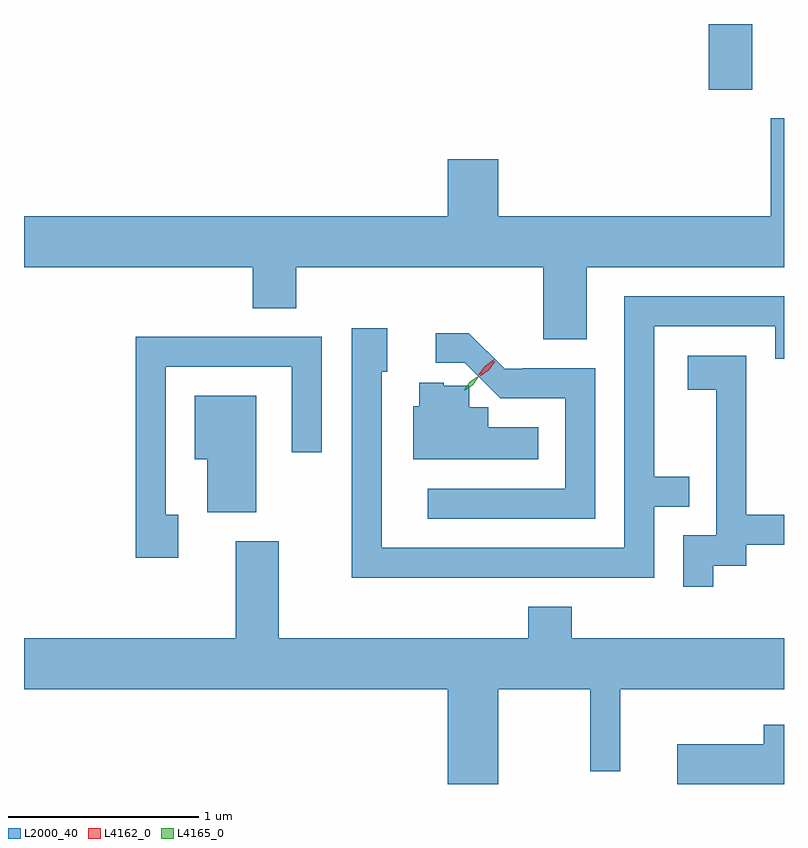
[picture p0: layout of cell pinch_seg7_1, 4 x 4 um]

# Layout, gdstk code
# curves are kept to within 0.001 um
import gdstk
lib = gdstk.Library(unit=1e-6, precision=1e-09)
def R(c, l, rs):  # rectangles x0, y0, x1, y1
    for r in rs: c.add(gdstk.rectangle(r[:2], r[2:], *l))
def P(c, l, *ps):  # polygons
    for p in ps: c.add(gdstk.Polygon(p, *l))
L2000_40 = (2000, 40)
L4162_0 = (4162, 0)
L4165_0 = (4165, 0)

pinch_seg7_1 = lib.new_cell('pinch_seg7_1')
R(pinch_seg7_1, L2000_40, [(1535.131,1735.231,1535.359,1735.576)])
P(pinch_seg7_1, L2000_40, [(1534.489,1734.296),(1535.527,1734.296),(1535.527,1735.079),(1535.456,1735.079),(1535.456,1734.564),(1534.024,1734.564),(1534.024,1734.864),(1533.756,1734.864),(1533.756,1734.564),(1531.527,1734.564),(1531.527,1734.296),(1532.731,1734.296),(1532.731,1734.081),(1532.959,1734.081),(1532.959,1734.296),(1534.261,1734.296),(1534.261,1733.916),(1534.489,1733.916)],
  [(1534.844,1733.036),(1535.028,1733.036),(1535.028,1733.194),(1534.844,1733.194),(1534.844,1733.986),(1535.481,1733.986),(1535.481,1733.814),(1535.527,1733.814),(1535.527,1734.144),(1534.686,1734.144),(1534.686,1732.819),(1533.409,1732.819),(1533.409,1733.746),(1533.439,1733.746),(1533.439,1733.974),(1533.251,1733.974),(1533.251,1732.661),(1534.844,1732.661)],
  [(1534.534,1733.764),(1534.151,1733.764),(1534.151,1733.761),(1534.056,1733.761),(1533.868,1733.949),(1533.693,1733.949),(1533.693,1733.794),(1533.846,1733.794),(1534.033,1733.607),(1534.376,1733.606),(1534.376,1733.129),(1533.653,1733.129),(1533.653,1732.971),(1534.534,1732.971)],
  [(1532.339,1732.994),(1532.274,1732.994),(1532.274,1733.771),(1532.936,1733.771),(1532.936,1733.323),(1533.094,1733.323),(1533.094,1733.929),(1532.116,1733.929),(1532.116,1732.766),(1532.339,1732.766)],
  [(1535.154,1732.726),(1535.329,1732.726),(1535.329,1732.836),(1535.527,1732.836),(1535.527,1732.994),(1535.329,1732.994),(1535.329,1733.829),(1535.021,1733.829),(1535.021,1733.651),(1535.171,1733.651),(1535.171,1732.884),(1534.996,1732.884),(1534.996,1732.613),(1535.154,1732.613)],
  [(1534.233,1733.454),(1533.971,1733.454),(1533.971,1733.56),(1533.871,1733.56),(1533.871,1733.673),(1533.736,1733.673),(1533.736,1733.687),(1533.606,1733.687),(1533.606,1733.564),(1533.576,1733.564),(1533.576,1733.286),(1534.233,1733.286)],
  [(1532.749,1733.619),(1532.426,1733.619),(1532.426,1733.286),(1532.491,1733.286),(1532.491,1733.006),(1532.749,1733.006)],
  [(1534.024,1732.076),(1534.506,1732.076),(1534.506,1731.643),(1534.664,1731.643),(1534.664,1732.076),(1535.527,1732.076),(1535.527,1732.344),(1534.409,1732.344),(1534.409,1732.509),(1534.181,1732.509),(1534.181,1732.344),(1532.869,1732.344),(1532.869,1732.854),(1532.641,1732.854),(1532.641,1732.344),(1531.527,1732.344),(1531.527,1732.076),(1533.756,1732.076),(1533.756,1731.576),(1534.024,1731.576)],
  [(1535.527,1731.888),(1535.421,1731.888),(1535.421,1731.784),(1534.966,1731.784),(1534.966,1731.576),(1535.527,1731.576)])
P(pinch_seg7_1, L4162_0, [(1533.916,1733.725),(1533.916,1733.726),(1533.952,1733.775),(1534.002,1733.811),(1534.002,1733.811),(1534.002,1733.81),(1533.966,1733.761),(1533.916,1733.725)],
  [(1533.926,1733.721),(1533.926,1733.722),(1533.959,1733.769),(1534.005,1733.802),(1534.006,1733.802),(1534.006,1733.801),(1533.974,1733.754),(1533.927,1733.721)])
P(pinch_seg7_1, L4165_0, [(1533.844,1733.649),(1533.844,1733.65),(1533.874,1733.693),(1533.917,1733.723),(1533.918,1733.723),(1533.918,1733.722),(1533.888,1733.679),(1533.845,1733.649)],
  [(1533.849,1733.649),(1533.849,1733.65),(1533.877,1733.691),(1533.917,1733.718),(1533.918,1733.718),(1533.918,1733.717),(1533.891,1733.677),(1533.85,1733.649)])

lib.write_gds('pinch_seg7_1.gds')
